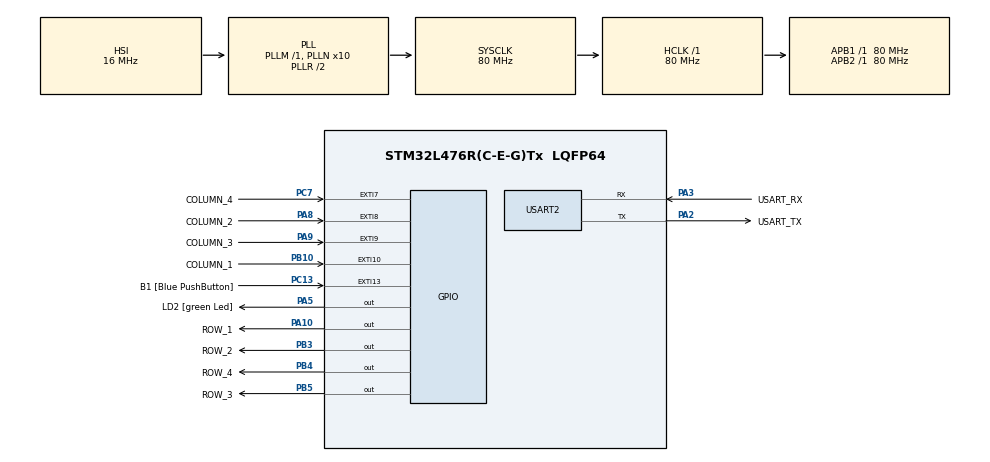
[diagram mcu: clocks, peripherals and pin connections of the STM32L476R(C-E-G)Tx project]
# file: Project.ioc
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Mcu.Family=STM32L4
Mcu.Name=STM32L476R(C-E-G)Tx
Mcu.Package=LQFP64
NVIC.EXTI15_10_IRQn=true\:0\:0\:false\:false\:true\:true\:true\:true
NVIC.EXTI9_5_IRQn=true\:0\:0\:false\:false\:true\:true\:true\:true
NVIC.PriorityGroup=NVIC_PRIORITYGROUP_4
NVIC.USART2_IRQn=true\:0\:0\:false\:false\:true\:true\:true\:true
PA10.GPIO_Label=ROW_1
PA10.GPIO_ModeDefaultOutputPP=GPIO_MODE_OUTPUT_OD
PA10.GPIO_PuPd=GPIO_NOPULL
PA10.PinState=GPIO_PIN_RESET
PA10.Signal=GPIO_Output
PA13\ (JTMS-SWDIO).GPIO_Label=TMS
PA13\ (JTMS-SWDIO).Mode=Serial_Wire
PA13\ (JTMS-SWDIO).Signal=SYS_JTMS-SWDIO
PA14\ (JTCK-SWCLK).GPIO_Label=TCK
PA14\ (JTCK-SWCLK).Mode=Serial_Wire
PA14\ (JTCK-SWCLK).Signal=SYS_JTCK-SWCLK
PA2.GPIO_Label=USART_TX
PA2.GPIO_Mode=GPIO_MODE_AF_PP
PA2.GPIO_PuPd=GPIO_NOPULL
PA2.GPIO_Speed=GPIO_SPEED_FREQ_VERY_HIGH
PA2.Mode=Asynchronous
PA2.Signal=USART2_TX
PA3.GPIO_Label=USART_RX
PA3.GPIO_Mode=GPIO_MODE_AF_PP
PA3.GPIO_PuPd=GPIO_NOPULL
PA3.GPIO_Speed=GPIO_SPEED_FREQ_VERY_HIGH
PA3.Mode=Asynchronous
PA3.Signal=USART2_RX
PA5.GPIO_Label=LD2 [green Led]
PA5.GPIO_ModeDefaultOutputPP=GPIO_MODE_OUTPUT_PP
PA5.GPIO_PuPd=GPIO_NOPULL
PA5.GPIO_Speed=GPIO_SPEED_FREQ_LOW
PA5.Signal=GPIO_Output
PA8.GPIO_Label=COLUMN_2
PA8.GPIO_ModeDefaultEXTI=GPIO_MODE_IT_FALLING
PA8.GPIO_PuPd=GPIO_PULLUP
PA8.Signal=GPXTI8
PA9.GPIO_Label=COLUMN_3
PA9.GPIO_ModeDefaultEXTI=GPIO_MODE_IT_FALLING
PA9.GPIO_PuPd=GPIO_PULLUP
PA9.Signal=GPXTI9
PB10.GPIO_Label=COLUMN_1
PB10.GPIO_ModeDefaultEXTI=GPIO_MODE_IT_FALLING
PB10.GPIO_PuPd=GPIO_PULLUP
PB10.Signal=GPXTI10
PB3\ (JTDO-TRACESWO).GPIO_Label=ROW_2
PB3\ (JTDO-TRACESWO).GPIO_ModeDefaultOutputPP=GPIO_MODE_OUTPUT_OD
PB3\ (JTDO-TRACESWO).GPIO_PuPd=GPIO_NOPULL
PB3\ (JTDO-TRACESWO).PinState=GPIO_PIN_RESET
PB3\ (JTDO-TRACESWO).Signal=GPIO_Output
PB4\ (NJTRST).GPIO_Label=ROW_4
PB4\ (NJTRST).GPIO_ModeDefaultOutputPP=GPIO_MODE_OUTPUT_OD
PB4\ (NJTRST).GPIO_PuPd=GPIO_NOPULL
PB4\ (NJTRST).PinState=GPIO_PIN_RESET
PB4\ (NJTRST).Signal=GPIO_Output
PB5.GPIO_Label=ROW_3
PB5.GPIO_ModeDefaultOutputPP=GPIO_MODE_OUTPUT_OD
PB5.GPIO_PuPd=GPIO_NOPULL
PB5.PinState=GPIO_PIN_RESET
PB5.Signal=GPIO_Output
PC13.GPIO_Label=B1 [Blue PushButton]
PC13.GPIO_ModeDefaultEXTI=GPIO_MODE_IT_FALLING
PC13.GPIO_PuPd=GPIO_NOPULL
PC13.Signal=GPXTI13
PC14-OSC32_IN\ (PC14).Mode=LSE-External-Oscillator
PC14-OSC32_IN\ (PC14).Signal=RCC_OSC32_IN
PC15-OSC32_OUT\ (PC15).Mode=LSE-External-Oscillator
PC15-OSC32_OUT\ (PC15).Signal=RCC_OSC32_OUT
PC7.GPIO_Label=COLUMN_4
PC7.GPIO_ModeDefaultEXTI=GPIO_MODE_IT_FALLING
PC7.GPIO_PuPd=GPIO_PULLUP
PC7.Signal=GPXTI7
PH0-OSC_IN\ (PH0).Signal=RCC_OSC_IN
PH1-OSC_OUT\ (PH1).Signal=RCC_OSC_OUT
ProjectManager.HeapSize=0x200
ProjectManager.StackSize=0x400
ProjectManager.TargetToolchain=EWARM V8.32
RCC.ADCFreq_Value=64000000
RCC.AHBFreq_Value=80000000
RCC.APB1Freq_Value=80000000
RCC.APB1TimFreq_Value=80000000
RCC.APB2Freq_Value=80000000
RCC.APB2TimFreq_Value=80000000
RCC.CortexFreq_Value=80000000
RCC.HCLKFreq_Value=80000000
RCC.HSE_VALUE=8000000
RCC.HSI_VALUE=16000000
RCC.MSI_VALUE=4000000
RCC.PLLN=10
RCC.PLLSourceVirtual=RCC_PLLSOURCE_HSI
RCC.PREFETCH_ENABLE=1
RCC.SYSCLKFreq_VALUE=80000000
RCC.SYSCLKSource=RCC_SYSCLKSOURCE_PLLCLK
RCC.USBFreq_Value=64000000
RCC.VCOOutputFreq_Value=160000000
USART2.VirtualMode-Asynchronous=VM_ASYNC
board=NUCLEO-L476RG

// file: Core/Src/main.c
/* USER CODE BEGIN Header */
/**
  ******************************************************************************
  * @file           : main.c
  * @brief          : Main program body
  ******************************************************************************
  * @attention
  *
  * Copyright (c) 2025 STMicroelectronics.
  * All rights reserved.
  *
  * This software is licensed under terms that can be found in the LICENSE file
  * in the root directory of this software component.
  * If no LICENSE file comes with this software, it is provided AS-IS.
  *
  ******************************************************************************
  */
/* USER CODE END Header */
#include "main.h"

/* USER CODE BEGIN Includes */
#include "keypad.h"
#include "ring_buffer.h"

/* USER CODE END Includes */

/* USER CODE BEGIN PD */
#define RB_CAPACITY 6

/* USER CODE END PD */

//UART_HandleTypeDef huart2;

UART_HandleTypeDef huart2;

/* -- Ring Buffer -- */
static uint8_t ring_buffer_memory[RB_CAPACITY];
static ring_buffer_t rb;

/* 2) Variable para almacenar temporalmente el byte recibido por UART (Rx) */
static uint8_t rx_char;

/* 3) Estado de la 'puerta' (LED) */
static uint8_t door_state = 0; // 0 = cerrada, 1 = abierta

/* -- Variables para Keypad -- */
uint32_t key_pressed_tick = 0;
uint16_t column_pressed = 0;
uint32_t debounce_tick = 0;

void SystemClock_Config(void);
static void MX_GPIO_Init(void);
static void MX_USART2_UART_Init(void);
/* USER CODE BEGIN PFP */
// Función que leerá del ring buffer y reconocerá comandos #*X*#
static void process_command(void);
/* USER CODE END PFP */

/* USER CODE BEGIN 0 */
/**
 * @brief Callback de EXTI (interrupción externa) para detectar la tecla presionada (Keypad)
 */
void HAL_GPIO_EXTI_Callback(uint16_t GPIO_Pin)
{
  if ((debounce_tick + 200) > HAL_GetTick()) {
    return;
  }
  debounce_tick = HAL_GetTick();
  key_pressed_tick = HAL_GetTick();
  column_pressed = GPIO_Pin;
}
/**
 * @brief Callback de UART (cuando recibe 1 byte)
 */
void HAL_UART_RxCpltCallback(UART_HandleTypeDef *huart)
{
    if (huart->Instance == USART2)
    {
        // Guardamos el byte recibido en el ring buffer
        ring_buffer_write(&rb, rx_char);
        // Reactivamos la recepción para el siguiente byte
        HAL_UART_Receive_IT(&huart2, &rx_char, 1);
    }
}

/* USER CODE END 0 */

int main(void)
{

  /* MCU Configuration--------------------------------------------------------*/

  /* Reset of all peripherals, Initializes the Flash interface and the Systick. */
  HAL_Init();

  /* Configure the system clock */
  SystemClock_Config();

  /* Initialize all configured peripherals */
  MX_GPIO_Init();
  MX_USART2_UART_Init();

  ring_buffer_init(&rb, ring_buffer_memory, RB_CAPACITY);
  HAL_UART_Receive_IT(&huart2, &rx_char, 1);

  /* Infinite loop */
  /* USER CODE BEGIN WHILE */
  //ring_buffer_init(&rb, ring_buffer_memory, RB_CAPACITY);
  keypad_init();
  // Mensaje de bienvenida
  char start_msg[] = "Sistema de Control de Acceso Iniciado\r\n";
  HAL_UART_Transmit(&huart2, (uint8_t*)start_msg, sizeof(start_msg)-1, 100);

  //HAL_UART_Transmit(&huart2, (uint8_t *)"Hello World\n", 12, 100);
  while (1) {
    if (column_pressed != 0 && (key_pressed_tick + 5) < HAL_GetTick() ) {
      uint8_t key = keypad_scan(column_pressed);
      HAL_UART_Transmit(&huart2, &key, 1, 100);

      ring_buffer_write(&rb, key); // Guardo el carácter en el ring buffer
     // process_command();  // Procesa los comandos en el ring buffer
      column_pressed = 0;
    }
    /* USER CODE END WHILE */
    process_command();  // Procesa los comandos en el ring buffer
  }
}

void SystemClock_Config(void)
{
  RCC_OscInitTypeDef RCC_OscInitStruct = {0};
  RCC_ClkInitTypeDef RCC_ClkInitStruct = {0};

  /** Configure the main internal regulator output voltage
  */
  if (HAL_PWREx_ControlVoltageScaling(PWR_REGULATOR_VOLTAGE_SCALE1) != HAL_OK)
  {
    Error_Handler();
  }

  /** Initializes the RCC Oscillators according to the specified parameters
  * in the RCC_OscInitTypeDef structure.
  */
  RCC_OscInitStruct.OscillatorType = RCC_OSCILLATORTYPE_HSI;
  RCC_OscInitStruct.HSIState = RCC_HSI_ON;
  RCC_OscInitStruct.HSICalibrationValue = RCC_HSICALIBRATION_DEFAULT;
  RCC_OscInitStruct.PLL.PLLState = RCC_PLL_ON;
  RCC_OscInitStruct.PLL.PLLSource = RCC_PLLSOURCE_HSI;
  RCC_OscInitStruct.PLL.PLLM = 1;
  RCC_OscInitStruct.PLL.PLLN = 10;
  RCC_OscInitStruct.PLL.PLLP = RCC_PLLP_DIV7;
  RCC_OscInitStruct.PLL.PLLQ = RCC_PLLQ_DIV2;
  RCC_OscInitStruct.PLL.PLLR = RCC_PLLR_DIV2;
  if (HAL_RCC_OscConfig(&RCC_OscInitStruct) != HAL_OK)
  {
    Error_Handler();
  }

  /** Initializes the CPU, AHB and APB buses clocks
  */
  RCC_ClkInitStruct.ClockType = RCC_CLOCKTYPE_HCLK|RCC_CLOCKTYPE_SYSCLK
                              |RCC_CLOCKTYPE_PCLK1|RCC_CLOCKTYPE_PCLK2;
  RCC_ClkInitStruct.SYSCLKSource = RCC_SYSCLKSOURCE_PLLCLK;
  RCC_ClkInitStruct.AHBCLKDivider = RCC_SYSCLK_DIV1;
  RCC_ClkInitStruct.APB1CLKDivider = RCC_HCLK_DIV1;
  RCC_ClkInitStruct.APB2CLKDivider = RCC_HCLK_DIV1;

  if (HAL_RCC_ClockConfig(&RCC_ClkInitStruct, FLASH_LATENCY_4) != HAL_OK)
  {
    Error_Handler();
  }
}

static void MX_USART2_UART_Init(void)
{

  huart2.Instance = USART2;
  huart2.Init.BaudRate = 115200;
  huart2.Init.WordLength = UART_WORDLENGTH_8B;
  huart2.Init.StopBits = UART_STOPBITS_1;
  huart2.Init.Parity = UART_PARITY_NONE;
  huart2.Init.Mode = UART_MODE_TX_RX;
  huart2.Init.HwFlowCtl = UART_HWCONTROL_NONE;
  huart2.Init.OverSampling = UART_OVERSAMPLING_16;
  huart2.Init.OneBitSampling = UART_ONE_BIT_SAMPLE_DISABLE;
  huart2.AdvancedInit.AdvFeatureInit = UART_ADVFEATURE_NO_INIT;
  if (HAL_UART_Init(&huart2) != HAL_OK)
  {
    Error_Handler();
  }

}

static void MX_GPIO_Init(void)
{
  GPIO_InitTypeDef GPIO_InitStruct = {0};

  /* GPIO Ports Clock Enable */
  __HAL_RCC_GPIOC_CLK_ENABLE();
  __HAL_RCC_GPIOH_CLK_ENABLE();
  __HAL_RCC_GPIOA_CLK_ENABLE();
  __HAL_RCC_GPIOB_CLK_ENABLE();

  /*Configure GPIO pin Output Level */
  HAL_GPIO_WritePin(GPIOA, LD2_Pin|ROW_1_Pin, GPIO_PIN_RESET);

  /*Configure GPIO pin Output Level */
  HAL_GPIO_WritePin(GPIOB, ROW_2_Pin|ROW_4_Pin|ROW_3_Pin, GPIO_PIN_RESET);

  /*Configure GPIO pin : B1_Pin */
  GPIO_InitStruct.Pin = B1_Pin;
  GPIO_InitStruct.Mode = GPIO_MODE_IT_FALLING;
  GPIO_InitStruct.Pull = GPIO_NOPULL;
  HAL_GPIO_Init(B1_GPIO_Port, &GPIO_InitStruct);

  /*Configure GPIO pin : LD2_Pin */
  GPIO_InitStruct.Pin = LD2_Pin;
  GPIO_InitStruct.Mode = GPIO_MODE_OUTPUT_PP;
  GPIO_InitStruct.Pull = GPIO_NOPULL;
  GPIO_InitStruct.Speed = GPIO_SPEED_FREQ_LOW;
  HAL_GPIO_Init(LD2_GPIO_Port, &GPIO_InitStruct);

  /*Configure GPIO pin : COLUMN_1_Pin */
  GPIO_InitStruct.Pin = COLUMN_1_Pin;
  GPIO_InitStruct.Mode = GPIO_MODE_IT_FALLING;
  GPIO_InitStruct.Pull = GPIO_PULLUP;
  HAL_GPIO_Init(COLUMN_1_GPIO_Port, &GPIO_InitStruct);

  /*Configure GPIO pin : COLUMN_4_Pin */
  GPIO_InitStruct.Pin = COLUMN_4_Pin;
  GPIO_InitStruct.Mode = GPIO_MODE_IT_FALLING;
  GPIO_InitStruct.Pull = GPIO_PULLUP;
  HAL_GPIO_Init(COLUMN_4_GPIO_Port, &GPIO_InitStruct);

  /*Configure GPIO pins : COLUMN_2_Pin COLUMN_3_Pin */
  GPIO_InitStruct.Pin = COLUMN_2_Pin|COLUMN_3_Pin;
  GPIO_InitStruct.Mode = GPIO_MODE_IT_FALLING;
  GPIO_InitStruct.Pull = GPIO_PULLUP;
  HAL_GPIO_Init(GPIOA, &GPIO_InitStruct);

  /*Configure GPIO pin : ROW_1_Pin */
  GPIO_InitStruct.Pin = ROW_1_Pin;
  GPIO_InitStruct.Mode = GPIO_MODE_OUTPUT_OD;
  GPIO_InitStruct.Pull = GPIO_NOPULL;
  GPIO_InitStruct.Speed = GPIO_SPEED_FREQ_LOW;
  HAL_GPIO_Init(ROW_1_GPIO_Port, &GPIO_InitStruct);

  /*Configure GPIO pins : ROW_2_Pin ROW_4_Pin ROW_3_Pin */
  GPIO_InitStruct.Pin = ROW_2_Pin|ROW_4_Pin|ROW_3_Pin;
  GPIO_InitStruct.Mode = GPIO_MODE_OUTPUT_OD;
  GPIO_InitStruct.Pull = GPIO_NOPULL;
  GPIO_InitStruct.Speed = GPIO_SPEED_FREQ_LOW;
  HAL_GPIO_Init(GPIOB, &GPIO_InitStruct);

  /* EXTI interrupt init*/
  HAL_NVIC_SetPriority(EXTI9_5_IRQn, 0, 0);
  HAL_NVIC_EnableIRQ(EXTI9_5_IRQn);

  HAL_NVIC_SetPriority(EXTI15_10_IRQn, 0, 0);
  HAL_NVIC_EnableIRQ(EXTI15_10_IRQn);

}

/* USER CODE BEGIN 4 */

static void process_command(void)
{
    // Buffer auxiliar para "reconstruir" comandos
    static uint8_t command_buffer[8];
    // Índice que indica cuántos chars hemos acumulado en command_buffer
    static uint8_t idx = 0;

    uint8_t data; // Byte temporal para leer del ring buffer

    // Mientras haya algo en el ring buffer
    while (ring_buffer_read(&rb, &data))
    {
        // Imprimir el byte leído para ver qué llegó
        HAL_UART_Transmit(&huart2, &data, 1, 100);

        // Mostrar cuántos elementos quedarán en el buffer tras este read
        // (Debería ir bajando, a menos que entren más datos simultáneamente)
        char debug_msg[40];
        uint8_t current_size = ring_buffer_size(&rb);
        sprintf(debug_msg, "[DEBUG] Tam. buffer: %u\r\n", current_size);
        HAL_UART_Transmit(&huart2, (uint8_t*)debug_msg, strlen(debug_msg), 100);

        // Almacenar el byte en command_buffer
        command_buffer[idx++] = data;

        // Evitar pasarnos de 'command_buffer'
        if (idx >= sizeof(command_buffer))
        {
            idx = 0;
        }

        // Verificar si hay 5 chars para detectar #*X*#
        if (idx >= 5)
        {
            if (command_buffer[idx-5] == '#' &&
                command_buffer[idx-4] == '*' &&
                command_buffer[idx-2] == '*' &&
                command_buffer[idx-1] == '#')
            {
                // Extraer comando central
                uint8_t cmd = command_buffer[idx-3];

                // Reiniciamos idx para buscar un nuevo comando
                idx = 0;

                // Ejecutar acción
                switch (cmd)
                {
                    case 'A': // #*A*#
                        door_state = 1; // Puerta abierta
                        HAL_GPIO_WritePin(LD2_GPIO_Port, LD2_Pin, GPIO_PIN_SET);
                        HAL_UART_Transmit(&huart2,
                          (uint8_t*)"\r\nPuerta abierta\r\n", 18, 100);
                        break;

                    case 'C': // #*C*#
                        door_state = 0; // Puerta cerrada
                        HAL_GPIO_WritePin(LD2_GPIO_Port, LD2_Pin, GPIO_PIN_RESET);
                        HAL_UART_Transmit(&huart2,
                          (uint8_t*)"\r\nPuerta cerrada\r\n", 18, 100);
                        break;

                    case '1': // #*1*#
                        if (door_state)
                            HAL_UART_Transmit(&huart2,
                              (uint8_t*)"\r\nLa puerta esta abierta\r\n", 26, 100);
                        else
                            HAL_UART_Transmit(&huart2,
                              (uint8_t*)"\r\nLa puerta esta cerrada\r\n", 27, 100);
                        break;

                    case '0': // #*0*#
                        // Limpia el ring buffer
                        ring_buffer_reset(&rb);
                        HAL_UART_Transmit(&huart2,
                          (uint8_t*)"\r\nRing buffer limpiado\r\n", 25, 100);
                        break;

                    default:
                        HAL_UART_Transmit(&huart2,
                          (uint8_t*)"\r\nComando invalido\r\n", 20, 100);
                        break;
                } // end switch
            }
        }
    } // end while (ring_buffer_read(...))
}

/* USER CODE END 4 */

void Error_Handler(void)
{
  __disable_irq();
  while (1)
  {
  }
}
